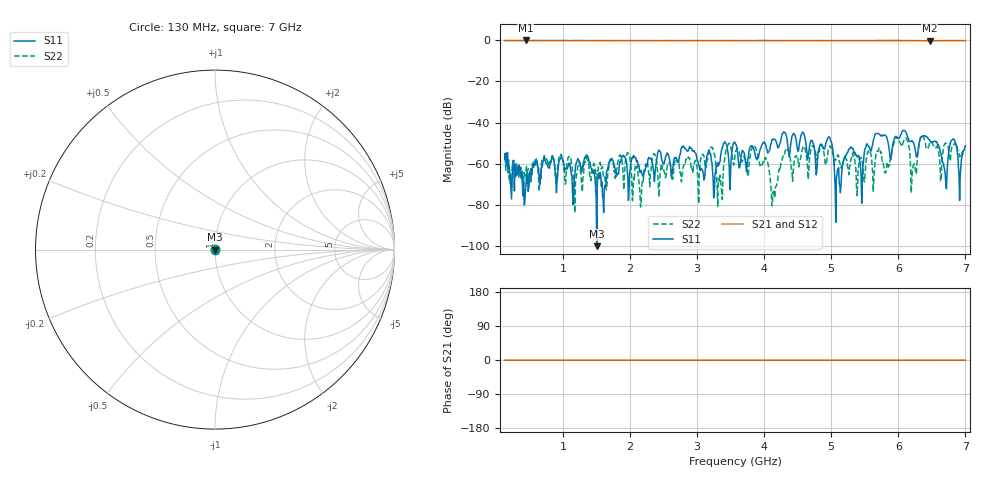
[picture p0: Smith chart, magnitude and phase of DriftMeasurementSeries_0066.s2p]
# Hz S RI R 50.000000
! Metas.Vna.Tools, 2.8.8664.20301
! Metas.Vna.Data, 2.8.8664.20285
! Created: UTC 2024.02.11 10:08:33
! FREQ  re:S1,1  im:S1,1  re:S2,1  im:S2,1  re:S1,2  im:S1,2  re:S2,2  im:S2,2
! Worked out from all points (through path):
!   801 points, 130 MHz to 7 GHz, reference 50 ohm
!   highest |S21| = -0.03 dB at 447.7 MHz (marker M1); lowest = -0.2 dB at 6.468 GHz (marker M2)
!   lowest |S11| = -100.2 dB at 1.504 GHz (marker M3), VSWR 1.00, Z = 50 - j0.00097 ohm
!   |S11| at or under -10 dB: start of sweep to end of sweep
!   |S22| runs from -84.0 to -45.9 dB; largest |S21 - S12| = 0.021
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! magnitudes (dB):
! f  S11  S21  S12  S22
! 130 MHz  -55.3  -0.1  0.0  -57.2
! 447.7 MHz  -70.9  0.0  0.0  -63.8
! 1.281 GHz  -64.1  -0.1  0.0  -71.7
! 1.504 GHz  -100.2  -0.1  0.0  -70.8
! 2.423 GHz  -54.0  -0.1  0.0  -71.6
! 3.264 GHz  -66.4  -0.1  0.0  -56.2
! 3.342 GHz  -59.0  -0.1  0.0  -65.6
! 3.453 GHz  -53.4  -0.1  0.0  -51.3
! 3.565 GHz  -49.7  -0.1  0.0  -56.0
! 3.857 GHz  -54.4  -0.1  0.0  -51.1
! 4.14 GHz  -48.0  -0.1  0.0  -75.1
! 4.321 GHz  -45.3  -0.1  0.0  -53.6
! 4.716 GHz  -48.7  -0.1  0.0  -51.5
! 4.982 GHz  -47.7  -0.1  0.0  -51.4
! 5.102 GHz  -62.4  -0.1  0.0  -55.6
! 5.291 GHz  -51.8  -0.1  0.0  -58.6
! 5.858 GHz  -51.8  -0.1  0.0  -60.4
! 6.468 GHz  -48.5  -0.2  0.0  -49.6
! 6.699 GHz  -65.1  -0.1  0.0  -50.0
! 6.802 GHz  -48.4  -0.1  0.0  -51.4
! 6.923 GHz  -65.9  -0.1  0.0  -55.7
! 7 GHz  -51.3  -0.1  0.0  -53.3
